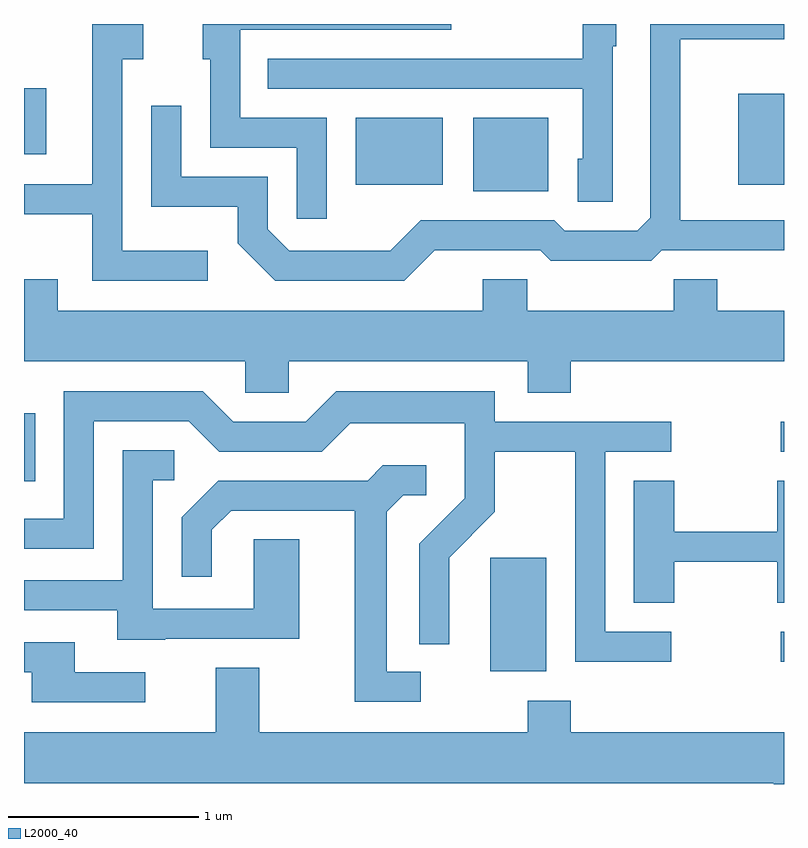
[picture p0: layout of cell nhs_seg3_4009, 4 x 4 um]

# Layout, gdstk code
import gdstk
lib = gdstk.Library(unit=1e-6, precision=1e-09)
def R(c, l, rs):  # rectangles x0, y0, x1, y1
    for r in rs: c.add(gdstk.rectangle(r[:2], r[2:], *l))
def P(c, l, *ps):  # polygons
    for p in ps: c.add(gdstk.Polygon(p, *l))
L2000_40 = (2000, 40)

nhs_seg3_4009 = lib.new_cell('nhs_seg3_4009')
R(nhs_seg3_4009, L2000_40, [(304.066,1246.486,304.359,1247.084), (305.593,1246.536,305.611,1246.694), (301.611,1247.486,301.669,1247.843), (305.593,1247.641,305.611,1247.799), (303.976,1249.011,304.369,1249.399), (303.356,1249.046,303.814,1249.399), (305.371,1249.046,305.611,1249.524), (301.611,1249.206,301.729,1249.554)])
P(nhs_seg3_4009, L2000_40, [(304.709,1249.776),(304.729,1249.776),(304.729,1249.892),(304.551,1249.892),(304.551,1249.709),(302.893,1249.709),(302.893,1249.551),(304.551,1249.551),(304.551,1249.184),(304.526,1249.184),(304.526,1248.956),(304.709,1248.956)],
  [(303.204,1249.399),(302.749,1249.399),(302.749,1249.861),(303.859,1249.861),(303.859,1249.892),(302.551,1249.892),(302.551,1249.706),(302.591,1249.706),(302.591,1249.241),(303.046,1249.241),(303.046,1248.868),(303.204,1248.868)],
  [(302.578,1248.699),(302.129,1248.699),(302.129,1249.706),(302.239,1249.706),(302.239,1249.892),(301.971,1249.892),(301.971,1249.049),(301.611,1249.049),(301.611,1248.891),(301.971,1248.891),(301.971,1248.541),(302.578,1248.541)],
  [(303.772,1248.701),(304.329,1248.701),(304.384,1248.646),(304.912,1248.646),(304.967,1248.701),(305.611,1248.701),(305.611,1248.859),(305.064,1248.859),(305.064,1249.811),(305.611,1249.811),(305.611,1249.892),(304.906,1249.892),(304.906,1248.872),(304.839,1248.804),(304.457,1248.804),(304.402,1248.859),(303.699,1248.859),(303.539,1248.699),(303.007,1248.699),(302.894,1248.812),(302.894,1249.089),(302.439,1249.089),(302.439,1249.463),(302.281,1249.463),(302.281,1248.931),(302.736,1248.931),(302.736,1248.739),(302.934,1248.541),(303.612,1248.541)],
  [(303.004,1248.116),(304.261,1248.116),(304.261,1247.951),(304.489,1247.951),(304.489,1248.116),(305.611,1248.116),(305.611,1248.384),(305.259,1248.384),(305.259,1248.549),(305.031,1248.549),(305.031,1248.384),(304.259,1248.384),(304.259,1248.549),(304.026,1248.549),(304.026,1248.384),(301.789,1248.384),(301.789,1248.549),(301.611,1248.549),(301.611,1248.116),(302.776,1248.116),(302.776,1247.951),(303.004,1247.951)],
  [(305.018,1246.694),(304.669,1246.694),(304.669,1247.641),(305.018,1247.641),(305.018,1247.799),(304.089,1247.799),(304.089,1247.959),(303.254,1247.959),(303.094,1247.799),(302.712,1247.799),(302.552,1247.959),(301.821,1247.959),(301.821,1247.289),(301.611,1247.289),(301.611,1247.131),(301.979,1247.131),(301.979,1247.801),(302.479,1247.801),(302.639,1247.641),(303.177,1247.641),(303.327,1247.791),(303.931,1247.791),(303.931,1247.397),(303.691,1247.157),(303.691,1246.628),(303.849,1246.628),(303.849,1247.084),(304.089,1247.324),(304.089,1247.641),(304.511,1247.641),(304.511,1246.536),(305.018,1246.536)],
  [(302.355,1246.656),(303.059,1246.656),(303.059,1247.179),(302.821,1247.179),(302.821,1246.814),(302.289,1246.814),(302.289,1247.491),(302.403,1247.491),(302.403,1247.649),(302.131,1247.649),(302.131,1246.964),(301.611,1246.964),(301.611,1246.806),(302.101,1246.806),(302.101,1246.651),(302.355,1246.651)],
  [(303.698,1246.484),(303.519,1246.484),(303.519,1247.324),(303.607,1247.411),(303.728,1247.411),(303.728,1247.569),(303.499,1247.569),(303.419,1247.489),(302.634,1247.489),(302.441,1247.297),(302.441,1246.983),(302.599,1246.983),(302.599,1247.229),(302.702,1247.331),(303.351,1247.331),(303.351,1246.326),(303.698,1246.326)],
  [(305.034,1247.061),(305.576,1247.061),(305.576,1246.846),(305.611,1246.846),(305.611,1247.489),(305.576,1247.489),(305.576,1247.219),(305.034,1247.219),(305.034,1247.489),(304.821,1247.489),(304.821,1246.846),(305.034,1246.846)],
  [(302.248,1246.479),(301.879,1246.479),(301.879,1246.639),(301.611,1246.639),(301.611,1246.481),(301.651,1246.481),(301.651,1246.321),(302.248,1246.321)],
  [(305.611,1246.164),(304.489,1246.164),(304.489,1246.329),(304.261,1246.329),(304.261,1246.164),(302.849,1246.164),(302.849,1246.504),(302.621,1246.504),(302.621,1246.164),(301.611,1246.164),(301.611,1245.896),(305.556,1245.896),(305.556,1245.892),(305.611,1245.892)])

lib.write_gds('nhs_seg3_4009.gds')
